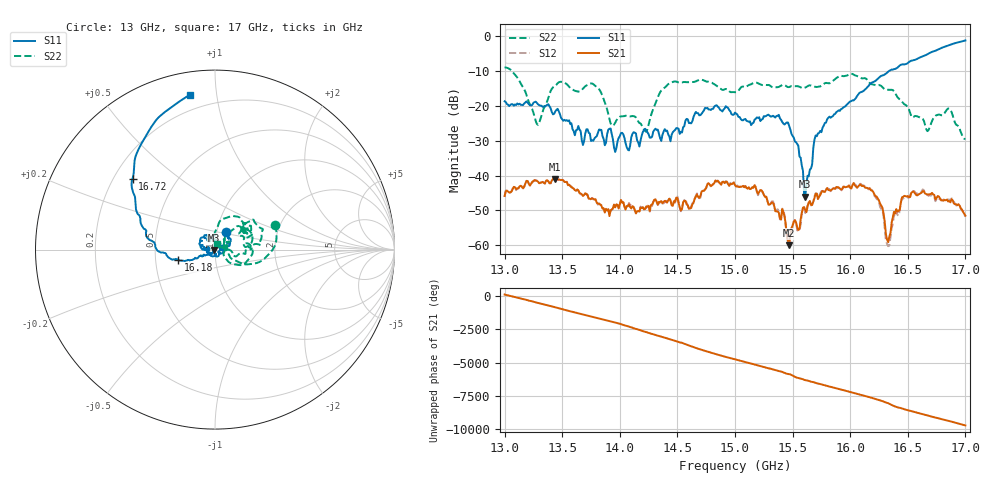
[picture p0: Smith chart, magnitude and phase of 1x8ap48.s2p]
!Keysight Technologies,P9374A,MY57211807,A.19.30.04
!Date: Friday, May 08, 2026 15:00:01
!Correction: S11(C  2-Port  )
!S21(C  2-Port  )
!S12(C  2-Port  )
!S22(C  2-Port  )
!S2P File: Measurements: S11, S21, S12, S22:
# Hz S  dB  R 50
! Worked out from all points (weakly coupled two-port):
!   401 points, 13 GHz to 17 GHz, reference 50 ohm
!   highest |S21| = -40.96 dB at 13.44 GHz (marker M1); lowest = -60.1 dB at 15.47 GHz (marker M2)
!   lowest |S11| = -46.1 dB at 15.61 GHz (marker M3), VSWR 1.01, Z = 49.6 - j0.236 ohm
!   |S11| at or under -10 dB: start of sweep to 16.33 GHz
!   |S22| runs from -29.5 to -8.9 dB; largest |S21 - S12| = 0.00057
!   S11 on the Smith chart (normalised r, x): 13 GHz: 1.11, +0.22; 16.18 GHz: 0.66, -0.08; 16.72 GHz: 0.28, +0.35; 17 GHz: 0.12, +0.85
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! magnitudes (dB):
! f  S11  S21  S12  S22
! 13 GHz  -18.7  -45.9  -46.0  -8.9
! 13.29 GHz  -19.5  -41.8  -41.6  -25.4
! 13.44 GHz  -21.5  -41.0  -41.2  -14.2
! 13.67 GHz  -29.8  -45.4  -45.4  -15.4
! 13.81 GHz  -27.7  -48.1  -48.4  -14.8
! 13.94 GHz  -29.6  -49.4  -49.6  -25.6
! 14.22 GHz  -26.5  -49.6  -49.5  -27.2
! 14.34 GHz  -28.1  -47.6  -47.9  -16.7
! 14.7 GHz  -22.6  -45.9  -46.4  -12.4
! 15 GHz  -21.9  -42.8  -42.7  -16.0
! 15.24 GHz  -23.8  -44.7  -44.9  -14.0
! 15.47 GHz  -25.7  -60.1  -59.7  -14.6
! 15.61 GHz  -46.1  -49.9  -50.7  -14.7
! 15.67 GHz  -36.7  -48.5  -48.2  -14.2
! 15.8 GHz  -23.8  -43.6  -43.6  -13.4
! 16.18 GHz  -13.5  -44.2  -44.1  -13.7
! 16.34 GHz  -9.9  -57.5  -60.1  -15.3
! 16.46 GHz  -8.0  -46.1  -46.6  -19.2
! 16.67 GHz  -5.1  -45.5  -45.5  -27.2
! 16.72 GHz  -4.3  -45.4  -46.1  -23.7
! 16.86 GHz  -2.5  -47.3  -46.9  -20.8
! 17 GHz  -1.2  -51.5  -51.9  -29.5
